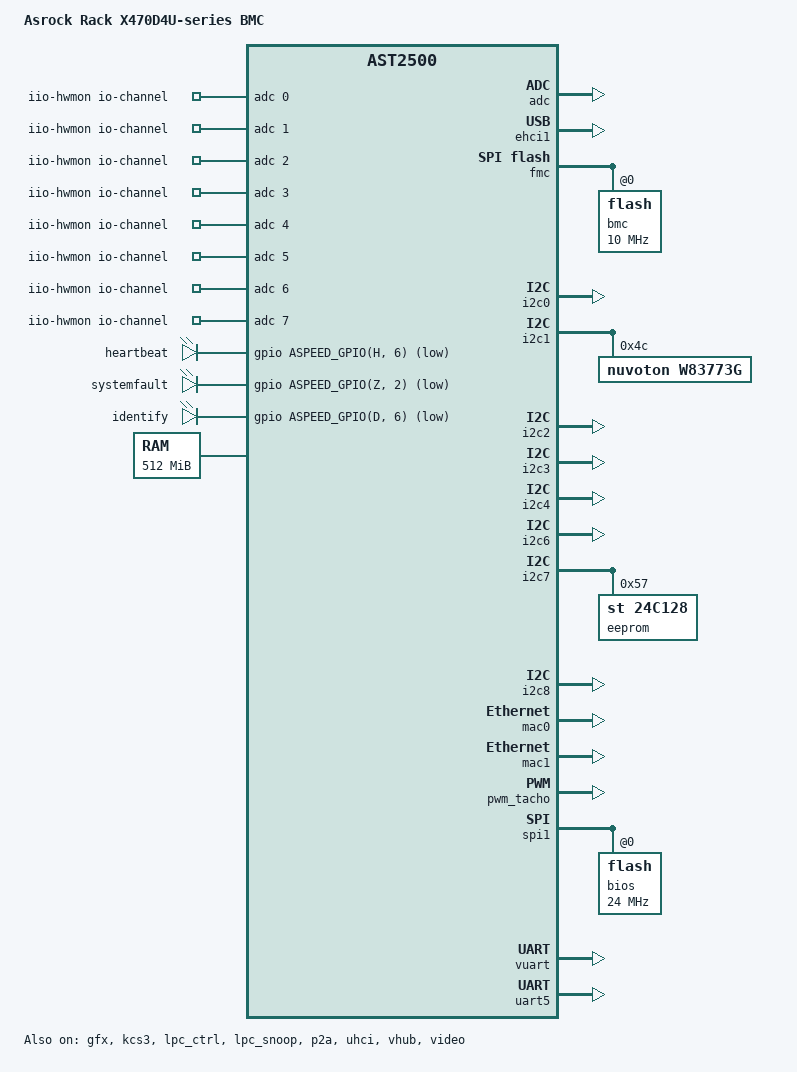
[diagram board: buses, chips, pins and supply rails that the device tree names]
// SPDX-License-Identifier: GPL-2.0+
/dts-v1/;

#include "aspeed-g5.dtsi"
#include <dt-bindings/gpio/aspeed-gpio.h>
#include <dt-bindings/leds/common.h>
#include <dt-bindings/interrupt-controller/irq.h>

/ {
	model = "Asrock Rack X470D4U-series BMC";
	compatible = "asrock,x470d4u-bmc", "aspeed,ast2500";

	aliases {
		serial4 = &uart5;
	};

	chosen {
		stdout-path = &uart5;
	};

	iio-hwmon {
		compatible = "iio-hwmon";
		io-channels = <&adc 0>, <&adc 1>, <&adc 2>, <&adc 3>, <&adc 4>,
			<&adc 5>, <&adc 6>, <&adc 7>, <&adc 8>, <&adc 9>,
			<&adc 10>, <&adc 11>, <&adc 12>;
	};

	leds {
		compatible = "gpio-leds";

		heartbeat {
			/* led-heartbeat-n */
			gpios = <&gpio ASPEED_GPIO(H, 6) GPIO_ACTIVE_LOW>;
			linux,default-trigger = "timer";
		};

		systemfault {
			/* led-fault-n */
			gpios = <&gpio ASPEED_GPIO(Z, 2) GPIO_ACTIVE_LOW>;
			panic-indicator;
		};

		identify {
			/* led-identify-n */
			gpios = <&gpio ASPEED_GPIO(D, 6) GPIO_ACTIVE_LOW>;
		};
	};

	memory@80000000 {
		reg = <0x80000000 0x20000000>;
	};

	reserved-memory {
		#address-cells = <1>;
		#size-cells = <1>;
		ranges;

		pci_memory: region@9a000000 {
			no-map;
			reg = <0x9a000000 0x00010000>; /* 64K */
		};

		video_engine_memory: jpegbuffer {
			size = <0x02800000>;	/* 40M */
			alignment = <0x01000000>;
			compatible = "shared-dma-pool";
			reusable;
		};

		gfx_memory: framebuffer {
			size = <0x01000000>;
			alignment = <0x01000000>;
			compatible = "shared-dma-pool";
			reusable;
		};
	};
};

&adc {
	status = "okay";
	pinctrl-names = "default";
	pinctrl-0 = <&pinctrl_adc0_default		/* 3VSB */
			&pinctrl_adc1_default		/* 5VSB */
			&pinctrl_adc2_default		/* VCPU */
			&pinctrl_adc3_default		/* VSOC */
			&pinctrl_adc4_default		/* VCCM */
			&pinctrl_adc5_default		/* APU-VDDP */
			&pinctrl_adc6_default		/* 1V05-PROM-S5 */
			&pinctrl_adc7_default		/* 2V5-PROM */
			&pinctrl_adc8_default		/* 1V05-PROM-RUN */
			&pinctrl_adc9_default		/* VBAT */
			&pinctrl_adc10_default		/* 3V */
			&pinctrl_adc11_default		/* 5V */
			&pinctrl_adc12_default>;	/* 12V */
};

&ehci1 {
	status = "okay";
};

/*
 * Although some board flavors have a 64MB SPI, use the
 * 32MB SPI layout to be compatible with all boards.
 */
&fmc {
	status = "okay";
	flash@0 {
		status = "okay";
		label = "bmc";
		m25p,fast-read;
		spi-max-frequency = <10000000>;
#include "openbmc-flash-layout.dtsi"
	};
};

&gfx {
	status = "okay";
};

&gpio {
	status = "okay";
	gpio-line-names =
	/*  A */ "input-locatorled-n", "", "", "", "", "", "", "",
	/*  B */ "input-bios-post-cmplt-n", "", "", "", "", "", "", "",
	/*  C */ "", "", "", "", "", "", "", "",
	/*  D */ "button-power-n", "control-power-n", "button-reset-n",
		 "control-reset-n", "", "", "", "",
	/*  E */ "", "", "", "", "", "", "", "",
	/*  F */ "", "", "", "", "", "", "", "",
	/*  G */ "output-hwm-vbat-enable", "input-id0-n", "input-id1-n",
		 "input-id2-n", "input-aux-smb-alert-n", "",
		 "input-psu-smb-alert-n", "",
	/*  H */ "", "", "", "", "input-mfg-mode-n", "",
		 "led-heartbeat-n", "input-case-open-n",
	/*  I */ "", "", "", "", "", "", "", "",
	/*  J */ "output-bmc-ready-n", "output-bios-cs-n", "", "", "", "",
		 "", "",
	/*  K */ "", "", "", "", "", "", "", "",
	/*  L */ "", "", "", "", "", "", "", "",
	/*  M */ "", "", "", "", "", "", "", "",
	/*  N */ "", "", "", "", "", "", "", "",
	/*  O */ "", "", "", "", "", "", "", "",
	/*  P */ "", "", "", "", "", "", "", "",
	/*  Q */ "", "", "", "", "input-bmc-smb-present-n", "", "",
		 "input-pcie-wake-n",
	/*  R */ "", "", "", "", "", "", "", "",
	/*  S */ "input-bmc-pchhot-n", "", "", "", "", "", "", "",
	/*  T */ "", "", "", "", "", "", "", "",
	/*  U */ "", "", "", "", "", "", "", "",
	/*  V */ "", "", "", "", "", "", "", "",
	/*  W */ "", "", "", "", "", "", "", "",
	/*  X */ "", "", "", "", "", "", "", "",
	/*  Y */ "input-sleep-s3-n", "input-sleep-s5-n", "", "", "", "",
		 "", "",
	/*  Z */ "", "", "led-fault-n", "output-bmc-throttle-n", "", "",
		 "", "",
	/* AA */ "input-cpu1-thermtrip-latch-n", "",
		 "input-cpu1-prochot-n", "", "", "", "", "",
	/* AB */ "", "input-power-good", "", "hard-power-off", "", "", "", "",
	/* AC */ "", "", "", "", "", "", "", "";
};

&i2c0 {
	/* SMBus on auxiliary panel header (AUX_PANEL1) */
	status = "okay";
};

&i2c1 {
	/* Hardware monitoring SMBus */
	status = "okay";

	w83773g@4c {
		compatible = "nuvoton,w83773g";
		reg = <0x4c>;
	};
};

&i2c2 {
	/* PSU SMBus (PSU_SMB1) */
	status = "okay";
};

&i2c3 {
	status = "okay";
};

&i2c4 {
	status = "okay";
};

&i2c6 {
	/* SMBus on BMC connector (BMC_SMB_1) */
	status = "okay";
};

&i2c7 {
	/* FRU EEPROM */
	status = "okay";

	eeprom@57 {
		compatible = "st,24c128", "atmel,24c128";
		reg = <0x57>;
		pagesize = <16>;

		nvmem-layout {
			compatible = "fixed-layout";
			#address-cells = <1>;
			#size-cells = <1>;

			eth0_macaddress: macaddress@3f80 {
				reg = <0x3f80 6>;
			};

			eth1_macaddress: macaddress@3f88 {
				reg = <0x3f88 6>;
			};
		};
	};
};

&i2c8 {
	/* SMBus on intelligent platform management bus header (IPMB_1) */
	status = "okay";
};

&kcs3 {
	status = "okay";
	aspeed,lpc-io-reg = <0xca2>;
};

&lpc_ctrl {
	status = "okay";
};

&lpc_snoop {
	status = "okay";
	snoop-ports = <0x80>;
};

&mac0 {
	status = "okay";
	pinctrl-names = "default";
	pinctrl-0 = <&pinctrl_rgmii1_default &pinctrl_mdio1_default>;

	nvmem-cells = <&eth0_macaddress>;
	nvmem-cell-names = "mac-address";
};

&mac1 {
	status = "okay";
	pinctrl-names = "default";
	pinctrl-0 = <&pinctrl_rmii2_default &pinctrl_mdio2_default>;
	use-ncsi;

	nvmem-cells = <&eth1_macaddress>;
	nvmem-cell-names = "mac-address";
};

&pwm_tacho {
	status = "okay";
	pinctrl-names = "default";
	pinctrl-0 = <&pinctrl_pwm0_default
				&pinctrl_pwm1_default
				&pinctrl_pwm2_default
				&pinctrl_pwm3_default
				&pinctrl_pwm4_default
				&pinctrl_pwm5_default>;

	fan@0 {
		/* FAN1 (4-pin) */
		reg = <0x00>;
		aspeed,fan-tach-ch = /bits/ 8 <0x00>;
	};

	fan@1 {
		/* FAN2 (4-pin) */
		reg = <0x01>;
		aspeed,fan-tach-ch = /bits/ 8 <0x01>;
	};

	fan@2 {
		/* FAN3 (4-pin) */
		reg = <0x02>;
		aspeed,fan-tach-ch = /bits/ 8 <0x02>;
	};

	fan@3 {
		/* FAN4 (6-pin) */
		reg = <0x03>;
		aspeed,fan-tach-ch = /bits/ 8 <0x03 0x0b>;
	};

	fan@4 {
		/* FAN5 (6-pin) */
		reg = <0x04>;
		aspeed,fan-tach-ch = /bits/ 8 <0x04 0x0d>;
	};

	fan@5 {
		/* FAN6 (6-pin) */
		reg = <0x05>;
		aspeed,fan-tach-ch = /bits/ 8 <0x05 0x0e>;
	};
};

&p2a {
	status = "okay";
	memory-region = <&pci_memory>;
};

&spi1 {
	status = "okay";
	pinctrl-names = "default";
	pinctrl-0 = <&pinctrl_spi1_default>;
	flash@0 {
		status = "okay";
		label = "bios";
		m25p,fast-read;
		/* Frequency extracted from original ROM */
		spi-max-frequency = <24000000>; /* 24 MHz */
	};
};

&uhci {
	status = "okay";
};

&vhub {
	status = "okay";
};

&video {
	status = "okay";
	memory-region = <&video_engine_memory>;
};

&vuart {
	status = "okay";
	aspeed,lpc-io-reg = <0x2f8>;
	aspeed,lpc-interrupts = <3 IRQ_TYPE_LEVEL_HIGH>;
};

&uart5 {
	status = "okay";
};
